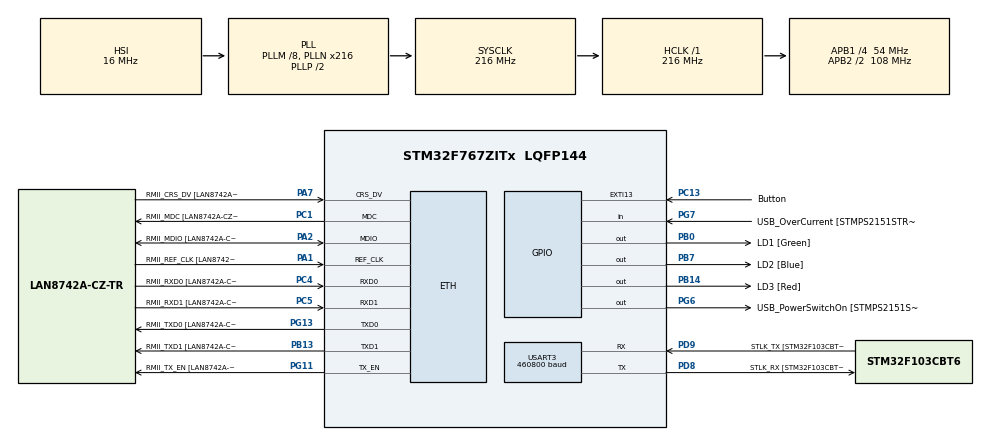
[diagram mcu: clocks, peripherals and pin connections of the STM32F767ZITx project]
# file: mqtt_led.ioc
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CORTEX_M7.ART_ACCLERATOR_ENABLE=1
CORTEX_M7.CPU_DCache=Enabled
CORTEX_M7.CPU_ICache=Enabled
CORTEX_M7.FlashInterface=AXI_Enabled
ETH.MediaInterface=ETH_MEDIA_INTERFACE_RMII
ETH.PhyAddress=0
LWIP.GATEWAY_ADDRESS=192.168.000.001
LWIP.IP_ADDRESS=192.168.000.151
LWIP.LWIP_DHCP=0
LWIP.MEM_SIZE=20*1024
LWIP.NETMASK_ADDRESS=255.255.255.000
LWIP.Version=v2.1.2_Cube
Mcu.Family=STM32F7
Mcu.Name=STM32F767ZITx
Mcu.Package=LQFP144
NVIC.ETH_IRQn=true\:0\:0\:false\:false\:true\:true\:true
NVIC.EXTI15_10_IRQn=true\:0\:0\:false\:false\:true\:true\:true
NVIC.PriorityGroup=NVIC_PRIORITYGROUP_4
NVIC.TIM2_IRQn=true\:0\:0\:false\:false\:true\:true\:true
NVIC.TIM3_IRQn=true\:0\:0\:false\:false\:true\:true\:true
NVIC.TIM4_IRQn=true\:0\:0\:false\:false\:true\:true\:true
NVIC.TIM5_IRQn=true\:0\:0\:false\:false\:true\:true\:true
NVIC.USART3_IRQn=true\:0\:0\:false\:false\:true\:true\:true
PA1.GPIO_Label=RMII_REF_CLK [LAN8742A-CZ-TR_REFCLK0]
PA1.Mode=RMII
PA1.Signal=ETH_REF_CLK
PA10.GPIO_Label=USB_ID
PA10.Signal=USB_OTG_FS_ID
PA11.GPIO_Label=USB_DM
PA11.Signal=USB_OTG_FS_DM
PA12.GPIO_Label=USB_DP
PA12.Signal=USB_OTG_FS_DP
PA13.GPIO_Label=TMS
PA13.Signal=SYS_JTMS-SWDIO
PA14.GPIO_Label=TCK
PA14.Signal=SYS_JTCK-SWCLK
PA2.GPIO_Label=RMII_MDIO [LAN8742A-CZ-TR_MDIO]
PA2.Mode=RMII
PA2.Signal=ETH_MDIO
PA7.GPIO_Label=RMII_CRS_DV [LAN8742A-CZ-TR_CRS_DV]
PA7.Mode=RMII
PA7.Signal=ETH_CRS_DV
PA8.GPIO_Label=USB_SOF [TP1]
PA8.Signal=USB_OTG_FS_SOF
PA9.GPIO_Label=USB_VBUS
PA9.Signal=USB_OTG_FS_VBUS
PB0.GPIO_Label=LD1 [Green]
PB0.Signal=GPIO_Output
PB13.GPIO_Label=RMII_TXD1 [LAN8742A-CZ-TR_TXD1]
PB13.Mode=RMII
PB13.Signal=ETH_TXD1
PB14.GPIO_Label=LD3 [Red]
PB14.Signal=GPIO_Output
PB3.GPIO_Label=SW0
PB3.Signal=SYS_JTDO-SWO
PB7.GPIO_Label=LD2 [Blue]
PB7.Signal=GPIO_Output
PC1.GPIO_Label=RMII_MDC [LAN8742A-CZ-TR_MDC]
PC1.Mode=RMII
PC1.Signal=ETH_MDC
PC13.GPIO_Label=Button
PC13.Signal=GPXTI13
PC14/OSC32_IN.Signal=RCC_OSC32_IN
PC15/OSC32_OUT.Signal=RCC_OSC32_OUT
PC4.GPIO_Label=RMII_RXD0 [LAN8742A-CZ-TR_RXD0]
PC4.Mode=RMII
PC4.Signal=ETH_RXD0
PC5.GPIO_Label=RMII_RXD1 [LAN8742A-CZ-TR_RXD1]
PC5.Mode=RMII
PC5.Signal=ETH_RXD1
PD8.GPIO_Label=STLK_RX [STM32F103CBT6_PA3]
PD8.Mode=Asynchronous
PD8.Signal=USART3_TX
PD9.GPIO_Label=STLK_TX [STM32F103CBT6_PA2]
PD9.Mode=Asynchronous
PD9.Signal=USART3_RX
PG11.GPIO_Label=RMII_TX_EN [LAN8742A-CZ-TR_TXEN]
PG11.Mode=RMII
PG11.Signal=ETH_TX_EN
PG13.GPIO_Label=RMII_TXD0 [LAN8742A-CZ-TR_TXD0]
PG13.Mode=RMII
PG13.Signal=ETH_TXD0
PG6.GPIO_Label=USB_PowerSwitchOn [STMPS2151STR_EN]
PG6.Signal=GPIO_Output
PG7.GPIO_Label=USB_OverCurrent [STMPS2151STR_FAULT]
PG7.Signal=GPIO_Input
PH0/OSC_IN.GPIO_Label=MCO [STM32F103CBT6_PA8]
PH0/OSC_IN.Signal=RCC_OSC_IN
PH1/OSC_OUT.Signal=RCC_OSC_OUT
ProjectManager.HeapSize=0x200
ProjectManager.StackSize=0x400
ProjectManager.TargetToolchain=STM32CubeIDE
RCC.48MHZClocksFreq_Value=24000000
RCC.AHBFreq_Value=216000000
RCC.APB1CLKDivider=RCC_HCLK_DIV4
RCC.APB1Freq_Value=54000000
RCC.APB1TimFreq_Value=108000000
RCC.APB2CLKDivider=RCC_HCLK_DIV2
RCC.APB2Freq_Value=108000000
RCC.APB2TimFreq_Value=216000000
RCC.CortexFreq_Value=216000000
RCC.HCLKFreq_Value=216000000
RCC.HSE_VALUE=16000000
RCC.HSI_VALUE=16000000
RCC.LSE_VALUE=32768
RCC.PLLM=8
RCC.PLLMUL=RCC_PLL_MUL9
RCC.PLLN=216
RCC.PRESCALERUSB=RCC_USBCLKSOURCE_PLL_DIV1_5
RCC.SYSCLKFreq_VALUE=216000000
RCC.SYSCLKSource=RCC_SYSCLKSOURCE_PLLCLK
RCC.SYSCLKSourceVirtual=RCC_SYSCLKSOURCE_PLLCLK
RCC.USBFreq_Value=216000000
RCC.VCOOutputFreq_Value=432000000
TIM2.Period=10000
TIM2.Prescaler=54000-1
TIM3.AutoReloadPreload=TIM_AUTORELOAD_PRELOAD_DISABLE
TIM3.CounterMode=TIM_COUNTERMODE_UP
TIM3.Period=10000
TIM3.Prescaler=54000-1
TIM4.Period=2000
TIM4.Prescaler=54000-1
TIM5.Period=10000
TIM5.Prescaler=54000-1
USART3.BaudRate=460800
USART3.VirtualMode-Asynchronous=VM_ASYNC
VP_LWIP_VS_Enabled.Mode=Enabled
VP_TIM2_VS_ClockSourceINT.Mode=Internal
VP_TIM3_VS_ClockSourceINT.Mode=Internal
VP_TIM4_VS_ClockSourceINT.Mode=Internal
VP_TIM5_VS_ClockSourceINT.Mode=Internal
board=NUCLEO-F767ZI

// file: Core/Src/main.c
/* USER CODE BEGIN Header */
/**
  ******************************************************************************
  * @file           : main.c
  * @brief          : Main program body
  ******************************************************************************
  * @attention
  *
  * <h2><center>&copy; Copyright (c) 2021 STMicroelectronics.
  * All rights reserved.</center></h2>
  *
  * This software component is licensed by ST under BSD 3-Clause license,
  * the "License"; You may not use this file except in compliance with the
  * License. You may obtain a copy of the License at:
  *                        opensource.org/licenses/BSD-3-Clause
  *
  ******************************************************************************
  */
#include <string.h>
#include <stdarg.h>
#include <stdio.h>
/* USER CODE END Header */
#include "main.h"
#include "lwip.h"

/* USER CODE BEGIN Includes */
#include "mqtt_cust.h"
/* USER CODE END Includes */

TIM_HandleTypeDef htim2;
TIM_HandleTypeDef htim3;
TIM_HandleTypeDef htim4;
TIM_HandleTypeDef htim5;

UART_HandleTypeDef huart3;

void SystemClock_Config(void);
static void MX_GPIO_Init(void);
static void MX_USART3_UART_Init(void);
static void MX_TIM2_Init(void);
static void MX_TIM3_Init(void);
static void MX_TIM4_Init(void);
static void MX_TIM5_Init(void);

int main(void)
{

  /* Enable I-Cache---------------------------------------------------------*/
  SCB_EnableICache();

  /* Enable D-Cache---------------------------------------------------------*/
  SCB_EnableDCache();

  /* MCU Configuration--------------------------------------------------------*/

  /* Reset of all peripherals, Initializes the Flash interface and the Systick. */
  HAL_Init();

  /* Configure the system clock */
  SystemClock_Config();

  /* Initialize all configured peripherals */
  MX_GPIO_Init();
  MX_LWIP_Init();
  MX_USART3_UART_Init();
  MX_TIM2_Init();
  MX_TIM3_Init();
  MX_TIM4_Init();
  MX_TIM5_Init();
  /* USER CODE BEGIN 2 */
  HAL_Delay(1000);
  mqtt_do_connect();
  HAL_TIM_Base_Start_IT(&htim2);
  HAL_TIM_Base_Start_IT(&htim3);
  HAL_TIM_Base_Start_IT(&htim4);
  HAL_TIM_Base_Start_IT(&htim5);
  /* USER CODE END 2 */

  /* Infinite loop */
  while (1)
  {

    /* USER CODE BEGIN 3 */
	  MX_LWIP_Process();
  }
  /* USER CODE END 3 */
}

void SystemClock_Config(void)
{
  RCC_OscInitTypeDef RCC_OscInitStruct = {0};
  RCC_ClkInitTypeDef RCC_ClkInitStruct = {0};
  RCC_PeriphCLKInitTypeDef PeriphClkInitStruct = {0};

  /** Configure the main internal regulator output voltage
  */
  __HAL_RCC_PWR_CLK_ENABLE();
  __HAL_PWR_VOLTAGESCALING_CONFIG(PWR_REGULATOR_VOLTAGE_SCALE1);
  /** Initializes the RCC Oscillators according to the specified parameters
  * in the RCC_OscInitTypeDef structure.
  */
  RCC_OscInitStruct.OscillatorType = RCC_OSCILLATORTYPE_HSI;
  RCC_OscInitStruct.HSIState = RCC_HSI_ON;
  RCC_OscInitStruct.HSICalibrationValue = RCC_HSICALIBRATION_DEFAULT;
  RCC_OscInitStruct.PLL.PLLState = RCC_PLL_ON;
  RCC_OscInitStruct.PLL.PLLSource = RCC_PLLSOURCE_HSI;
  RCC_OscInitStruct.PLL.PLLM = 8;
  RCC_OscInitStruct.PLL.PLLN = 216;
  RCC_OscInitStruct.PLL.PLLP = RCC_PLLP_DIV2;
  RCC_OscInitStruct.PLL.PLLQ = 2;
  RCC_OscInitStruct.PLL.PLLR = 2;
  if (HAL_RCC_OscConfig(&RCC_OscInitStruct) != HAL_OK)
  {
    Error_Handler();
  }
  /** Activate the Over-Drive mode
  */
  if (HAL_PWREx_EnableOverDrive() != HAL_OK)
  {
    Error_Handler();
  }
  /** Initializes the CPU, AHB and APB buses clocks
  */
  RCC_ClkInitStruct.ClockType = RCC_CLOCKTYPE_HCLK|RCC_CLOCKTYPE_SYSCLK
                              |RCC_CLOCKTYPE_PCLK1|RCC_CLOCKTYPE_PCLK2;
  RCC_ClkInitStruct.SYSCLKSource = RCC_SYSCLKSOURCE_PLLCLK;
  RCC_ClkInitStruct.AHBCLKDivider = RCC_SYSCLK_DIV1;
  RCC_ClkInitStruct.APB1CLKDivider = RCC_HCLK_DIV4;
  RCC_ClkInitStruct.APB2CLKDivider = RCC_HCLK_DIV2;

  if (HAL_RCC_ClockConfig(&RCC_ClkInitStruct, FLASH_LATENCY_7) != HAL_OK)
  {
    Error_Handler();
  }
  PeriphClkInitStruct.PeriphClockSelection = RCC_PERIPHCLK_USART3;
  PeriphClkInitStruct.Usart3ClockSelection = RCC_USART3CLKSOURCE_PCLK1;
  if (HAL_RCCEx_PeriphCLKConfig(&PeriphClkInitStruct) != HAL_OK)
  {
    Error_Handler();
  }
}

static void MX_TIM2_Init(void)
{

  TIM_ClockConfigTypeDef sClockSourceConfig = {0};
  TIM_MasterConfigTypeDef sMasterConfig = {0};

  htim2.Instance = TIM2;
  htim2.Init.Prescaler = 54000-1;
  htim2.Init.CounterMode = TIM_COUNTERMODE_UP;
  htim2.Init.Period = 10000;
  htim2.Init.ClockDivision = TIM_CLOCKDIVISION_DIV1;
  htim2.Init.AutoReloadPreload = TIM_AUTORELOAD_PRELOAD_DISABLE;
  if (HAL_TIM_Base_Init(&htim2) != HAL_OK)
  {
    Error_Handler();
  }
  sClockSourceConfig.ClockSource = TIM_CLOCKSOURCE_INTERNAL;
  if (HAL_TIM_ConfigClockSource(&htim2, &sClockSourceConfig) != HAL_OK)
  {
    Error_Handler();
  }
  sMasterConfig.MasterOutputTrigger = TIM_TRGO_RESET;
  sMasterConfig.MasterSlaveMode = TIM_MASTERSLAVEMODE_DISABLE;
  if (HAL_TIMEx_MasterConfigSynchronization(&htim2, &sMasterConfig) != HAL_OK)
  {
    Error_Handler();
  }

}

static void MX_TIM3_Init(void)
{

  TIM_ClockConfigTypeDef sClockSourceConfig = {0};
  TIM_MasterConfigTypeDef sMasterConfig = {0};

  htim3.Instance = TIM3;
  htim3.Init.Prescaler = 54000-1;
  htim3.Init.CounterMode = TIM_COUNTERMODE_UP;
  htim3.Init.Period = 10000;
  htim3.Init.ClockDivision = TIM_CLOCKDIVISION_DIV1;
  htim3.Init.AutoReloadPreload = TIM_AUTORELOAD_PRELOAD_DISABLE;
  if (HAL_TIM_Base_Init(&htim3) != HAL_OK)
  {
    Error_Handler();
  }
  sClockSourceConfig.ClockSource = TIM_CLOCKSOURCE_INTERNAL;
  if (HAL_TIM_ConfigClockSource(&htim3, &sClockSourceConfig) != HAL_OK)
  {
    Error_Handler();
  }
  sMasterConfig.MasterOutputTrigger = TIM_TRGO_RESET;
  sMasterConfig.MasterSlaveMode = TIM_MASTERSLAVEMODE_DISABLE;
  if (HAL_TIMEx_MasterConfigSynchronization(&htim3, &sMasterConfig) != HAL_OK)
  {
    Error_Handler();
  }

}

static void MX_TIM4_Init(void)
{

  TIM_ClockConfigTypeDef sClockSourceConfig = {0};
  TIM_MasterConfigTypeDef sMasterConfig = {0};

  htim4.Instance = TIM4;
  htim4.Init.Prescaler = 54000-1;
  htim4.Init.CounterMode = TIM_COUNTERMODE_UP;
  htim4.Init.Period = 2000;
  htim4.Init.ClockDivision = TIM_CLOCKDIVISION_DIV1;
  htim4.Init.AutoReloadPreload = TIM_AUTORELOAD_PRELOAD_DISABLE;
  if (HAL_TIM_Base_Init(&htim4) != HAL_OK)
  {
    Error_Handler();
  }
  sClockSourceConfig.ClockSource = TIM_CLOCKSOURCE_INTERNAL;
  if (HAL_TIM_ConfigClockSource(&htim4, &sClockSourceConfig) != HAL_OK)
  {
    Error_Handler();
  }
  sMasterConfig.MasterOutputTrigger = TIM_TRGO_RESET;
  sMasterConfig.MasterSlaveMode = TIM_MASTERSLAVEMODE_DISABLE;
  if (HAL_TIMEx_MasterConfigSynchronization(&htim4, &sMasterConfig) != HAL_OK)
  {
    Error_Handler();
  }

}

static void MX_TIM5_Init(void)
{

  TIM_ClockConfigTypeDef sClockSourceConfig = {0};
  TIM_MasterConfigTypeDef sMasterConfig = {0};

  htim5.Instance = TIM5;
  htim5.Init.Prescaler = 54000-1;
  htim5.Init.CounterMode = TIM_COUNTERMODE_UP;
  htim5.Init.Period = 10000;
  htim5.Init.ClockDivision = TIM_CLOCKDIVISION_DIV1;
  htim5.Init.AutoReloadPreload = TIM_AUTORELOAD_PRELOAD_DISABLE;
  if (HAL_TIM_Base_Init(&htim5) != HAL_OK)
  {
    Error_Handler();
  }
  sClockSourceConfig.ClockSource = TIM_CLOCKSOURCE_INTERNAL;
  if (HAL_TIM_ConfigClockSource(&htim5, &sClockSourceConfig) != HAL_OK)
  {
    Error_Handler();
  }
  sMasterConfig.MasterOutputTrigger = TIM_TRGO_RESET;
  sMasterConfig.MasterSlaveMode = TIM_MASTERSLAVEMODE_DISABLE;
  if (HAL_TIMEx_MasterConfigSynchronization(&htim5, &sMasterConfig) != HAL_OK)
  {
    Error_Handler();
  }

}

static void MX_USART3_UART_Init(void)
{

  huart3.Instance = USART3;
  huart3.Init.BaudRate = 460800;
  huart3.Init.WordLength = UART_WORDLENGTH_8B;
  huart3.Init.StopBits = UART_STOPBITS_1;
  huart3.Init.Parity = UART_PARITY_NONE;
  huart3.Init.Mode = UART_MODE_TX_RX;
  huart3.Init.HwFlowCtl = UART_HWCONTROL_NONE;
  huart3.Init.OverSampling = UART_OVERSAMPLING_16;
  huart3.Init.OneBitSampling = UART_ONE_BIT_SAMPLE_DISABLE;
  huart3.AdvancedInit.AdvFeatureInit = UART_ADVFEATURE_NO_INIT;
  if (HAL_UART_Init(&huart3) != HAL_OK)
  {
    Error_Handler();
  }

}

static void MX_GPIO_Init(void)
{
  GPIO_InitTypeDef GPIO_InitStruct = {0};

  /* GPIO Ports Clock Enable */
  __HAL_RCC_GPIOC_CLK_ENABLE();
  __HAL_RCC_GPIOH_CLK_ENABLE();
  __HAL_RCC_GPIOA_CLK_ENABLE();
  __HAL_RCC_GPIOB_CLK_ENABLE();
  __HAL_RCC_GPIOD_CLK_ENABLE();
  __HAL_RCC_GPIOG_CLK_ENABLE();

  /*Configure GPIO pin Output Level */
  HAL_GPIO_WritePin(GPIOB, LD1_Pin|LD3_Pin|LD2_Pin, GPIO_PIN_RESET);

  /*Configure GPIO pin Output Level */
  HAL_GPIO_WritePin(USB_PowerSwitchOn_GPIO_Port, USB_PowerSwitchOn_Pin, GPIO_PIN_RESET);

  /*Configure GPIO pin : Button_Pin */
  GPIO_InitStruct.Pin = Button_Pin;
  GPIO_InitStruct.Mode = GPIO_MODE_IT_RISING;
  GPIO_InitStruct.Pull = GPIO_NOPULL;
  HAL_GPIO_Init(Button_GPIO_Port, &GPIO_InitStruct);

  /*Configure GPIO pins : LD1_Pin LD3_Pin LD2_Pin */
  GPIO_InitStruct.Pin = LD1_Pin|LD3_Pin|LD2_Pin;
  GPIO_InitStruct.Mode = GPIO_MODE_OUTPUT_PP;
  GPIO_InitStruct.Pull = GPIO_NOPULL;
  GPIO_InitStruct.Speed = GPIO_SPEED_FREQ_LOW;
  HAL_GPIO_Init(GPIOB, &GPIO_InitStruct);

  /*Configure GPIO pin : USB_PowerSwitchOn_Pin */
  GPIO_InitStruct.Pin = USB_PowerSwitchOn_Pin;
  GPIO_InitStruct.Mode = GPIO_MODE_OUTPUT_PP;
  GPIO_InitStruct.Pull = GPIO_NOPULL;
  GPIO_InitStruct.Speed = GPIO_SPEED_FREQ_LOW;
  HAL_GPIO_Init(USB_PowerSwitchOn_GPIO_Port, &GPIO_InitStruct);

  /*Configure GPIO pin : USB_OverCurrent_Pin */
  GPIO_InitStruct.Pin = USB_OverCurrent_Pin;
  GPIO_InitStruct.Mode = GPIO_MODE_INPUT;
  GPIO_InitStruct.Pull = GPIO_NOPULL;
  HAL_GPIO_Init(USB_OverCurrent_GPIO_Port, &GPIO_InitStruct);

  /*Configure GPIO pins : USB_SOF_Pin USB_ID_Pin USB_DM_Pin USB_DP_Pin */
  GPIO_InitStruct.Pin = USB_SOF_Pin|USB_ID_Pin|USB_DM_Pin|USB_DP_Pin;
  GPIO_InitStruct.Mode = GPIO_MODE_AF_PP;
  GPIO_InitStruct.Pull = GPIO_NOPULL;
  GPIO_InitStruct.Speed = GPIO_SPEED_FREQ_VERY_HIGH;
  GPIO_InitStruct.Alternate = GPIO_AF10_OTG_FS;
  HAL_GPIO_Init(GPIOA, &GPIO_InitStruct);

  /*Configure GPIO pin : USB_VBUS_Pin */
  GPIO_InitStruct.Pin = USB_VBUS_Pin;
  GPIO_InitStruct.Mode = GPIO_MODE_INPUT;
  GPIO_InitStruct.Pull = GPIO_NOPULL;
  HAL_GPIO_Init(USB_VBUS_GPIO_Port, &GPIO_InitStruct);

  /* EXTI interrupt init*/
  HAL_NVIC_SetPriority(EXTI15_10_IRQn, 0, 0);
  HAL_NVIC_EnableIRQ(EXTI15_10_IRQn);

}

/* USER CODE BEGIN 4 */

void HAL_TIM_PeriodElapsedCallback(TIM_HandleTypeDef *htim)
{
	MQTT_PeriodElapsedTim(htim);
}

void HAL_GPIO_EXTI_Callback(uint16_t GPIO_Pin)
{
	MQTT_Cust_HAL_GPIO_EXTI_Callback(GPIO_Pin);
}

#define PRINT  1
void PRINT_MESG_UART(const char * format, ... )
{
#if PRINT
	va_list ap;
	uint8_t buffer [128];
	unsigned int n;
	va_start(ap, format);
	n = vsnprintf ((char*)buffer, (unsigned int)128, format, ap);
	va_end(ap);
	if(HAL_UART_Transmit(&huart3, (uint8_t*)buffer, n, 300) != HAL_OK) {
		Error_Handler();
	}
#endif
}
/* USER CODE END 4 */

void Error_Handler(void)
{
  __disable_irq();
  while (1)
  {
  }
}

/************************ (C) COPYRIGHT STMicroelectronics *****END OF FILE****/
